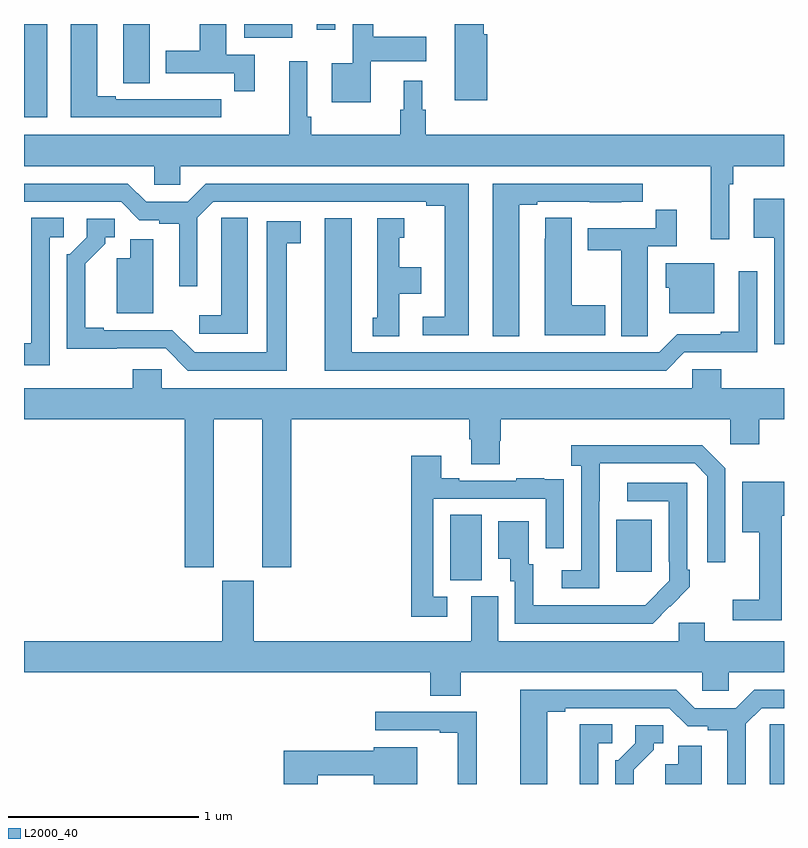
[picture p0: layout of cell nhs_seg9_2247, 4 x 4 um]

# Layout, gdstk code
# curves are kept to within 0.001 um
import gdstk
lib = gdstk.Library(unit=1e-6, precision=1e-09)
def R(c, l, rs):  # rectangles x0, y0, x1, y1
    for r in rs: c.add(gdstk.rectangle(r[:2], r[2:], *l))
def P(c, l, *ps):  # polygons
    for p in ps: c.add(gdstk.Polygon(p, *l))
L2000_40 = (2000, 40)

nhs_seg9_2247 = lib.new_cell('nhs_seg9_2247')
R(nhs_seg9_2247, L2000_40, [(241.244,1195.573,241.408,1195.916), (242.117,1195.617,242.305,1195.891), (239,1198.008,239.122,1198.5), (240.158,1198.427,240.412,1198.5), (240.542,1198.47,240.639,1198.5)])
P(nhs_seg9_2247, L2000_40, [(241.439,1198.446),(241.421,1198.446),(241.421,1198.5),(241.267,1198.5),(241.267,1198.446),(241.268,1198.446),(241.268,1198.098),(241.439,1198.098)],
  [(239.662,1198.5),(239.522,1198.5),(239.522,1198.297),(239.523,1198.297),(239.523,1198.189),(239.662,1198.189)],
  [(240.037,1198.104),(239.924,1198.104),(239.924,1198.105),(239.758,1198.105),(239.758,1198.104),(239.482,1198.104),(239.482,1198.119),(239.386,1198.119),(239.386,1198.5),(239.246,1198.5),(239.246,1198.008),(240.037,1198.008)],
  [(240.215,1198.338),(240.064,1198.338),(240.064,1198.5),(239.924,1198.5),(239.924,1198.359),(239.747,1198.359),(239.747,1198.242),(240.106,1198.242),(240.106,1198.146),(240.215,1198.146)],
  [(240.826,1198.304),(241.117,1198.304),(241.117,1198.434),(240.838,1198.434),(240.838,1198.5),(240.729,1198.5),(240.729,1198.294),(240.62,1198.294),(240.62,1198.088),(240.826,1198.088)],
  [(240.998,1198.201),(240.998,1198.05),(240.979,1198.05),(240.979,1197.916),(240.512,1197.916),(240.512,1198.012),(240.492,1198.012),(240.492,1198.303),(240.395,1198.303),(240.395,1197.916),(239,1197.916),(239,1197.752),(239.685,1197.752),(239.685,1197.654),(239.823,1197.654),(239.823,1197.752),(242.615,1197.752),(242.615,1197.366),(242.712,1197.366),(242.712,1197.656),(242.732,1197.656),(242.732,1197.752),(243,1197.752),(243,1197.916),(241.115,1197.916),(241.115,1198.05),(241.096,1198.05),(241.096,1198.201)],
  [(241.342,1197.66),(239.957,1197.66),(239.861,1197.564),(239.643,1197.564),(239.547,1197.66),(239,1197.66),(239,1197.564),(239.511,1197.564),(239.607,1197.468),(239.712,1197.468),(239.712,1197.448),(239.816,1197.448),(239.816,1197.12),(239.913,1197.12),(239.913,1197.48),(239.997,1197.564),(241.118,1197.564),(241.118,1197.544),(241.214,1197.544),(241.214,1196.958),(241.098,1196.958),(241.098,1196.862),(241.342,1196.862)],
  [(241.606,1197.549),(241.702,1197.549),(241.702,1197.564),(241.978,1197.564),(241.978,1197.563),(242.144,1197.563),(242.144,1197.564),(242.257,1197.564),(242.257,1197.66),(241.466,1197.66),(241.466,1196.857),(241.606,1196.857)],
  [(243,1197.58),(242.84,1197.58),(242.84,1197.374),(242.949,1197.374),(242.949,1196.814),(243,1196.814)],
  [(242.283,1196.968),(242.284,1196.968),(242.284,1197.33),(242.435,1197.33),(242.435,1197.523),(242.326,1197.523),(242.326,1197.426),(241.967,1197.426),(241.967,1197.31),(242.144,1197.31),(242.144,1196.857),(242.283,1196.857)],
  [(240.178,1197.479),(240.039,1197.479),(240.039,1197.371),(240.038,1197.371),(240.038,1196.968),(239.922,1196.968),(239.922,1196.871),(240.178,1196.871)],
  [(242.059,1197.021),(241.882,1197.021),(241.882,1197.479),(241.743,1197.479),(241.743,1197.371),(241.742,1197.371),(241.742,1196.861),(242.059,1196.861)],
  [(239.136,1197.378),(239.209,1197.378),(239.209,1197.479),(239.039,1197.479),(239.039,1196.819),(239,1196.819),(239,1196.703),(239.136,1196.703)],
  [(242.475,1196.772),(242.859,1196.772),(242.859,1197.199),(242.762,1197.199),(242.762,1196.881),(242.666,1196.881),(242.666,1196.868),(242.439,1196.868),(242.343,1196.772),(240.724,1196.772),(240.724,1197.478),(240.584,1197.478),(240.584,1196.676),(242.379,1196.676)],
  [(240.976,1197.08),(241.09,1197.08),(241.09,1197.22),(240.976,1197.22),(240.976,1197.375),(241,1197.375),(241,1197.478),(240.86,1197.478),(240.86,1196.955),(240.836,1196.955),(240.836,1196.857),(240.976,1196.857)],
  [(240.382,1197.346),(240.457,1197.346),(240.457,1197.462),(240.278,1197.462),(240.278,1196.772),(239.898,1196.772),(239.781,1196.889),(239.419,1196.889),(239.419,1196.902),(239.323,1196.902),(239.323,1197.238),(239.428,1197.343),(239.428,1197.378),(239.478,1197.378),(239.478,1197.474),(239.331,1197.474),(239.331,1197.378),(239.241,1197.288),(239.226,1197.288),(239.226,1196.792),(239.745,1196.793),(239.862,1196.676),(240.382,1196.676)],
  [(239.68,1197.366),(239.558,1197.366),(239.558,1197.268),(239.489,1197.268),(239.489,1196.978),(239.68,1196.978)],
  [(242.632,1197.241),(242.378,1197.241),(242.378,1197.111),(242.396,1197.111),(242.396,1196.978),(242.632,1196.978)],
  [(239.998,1196.42),(240.254,1196.42),(240.254,1195.641),(240.407,1195.641),(240.407,1196.42),(241.343,1196.42),(241.343,1196.314),(241.355,1196.314),(241.355,1196.182),(241.503,1196.182),(241.503,1196.307),(241.508,1196.307),(241.508,1196.42),(242.718,1196.42),(242.718,1196.289),(242.87,1196.289),(242.87,1196.42),(243,1196.42),(243,1196.584),(242.669,1196.584),(242.669,1196.682),(242.517,1196.682),(242.517,1196.584),(239.724,1196.584),(239.724,1196.682),(239.573,1196.682),(239.573,1196.584),(239,1196.584),(239,1196.42),(239.846,1196.42),(239.846,1195.641),(239.998,1195.641)],
  [(242.028,1195.987),(242.029,1196.187),(242.529,1196.187),(242.595,1196.121),(242.595,1195.668),(242.691,1195.668),(242.691,1196.163),(242.57,1196.284),(241.881,1196.284),(241.881,1196.174),(241.932,1196.174),(241.932,1195.626),(241.83,1195.626),(241.83,1195.53),(242.028,1195.53)],
  [(241.228,1195.485),(241.155,1195.485),(241.155,1196.001),(241.746,1196.001),(241.746,1195.74),(241.842,1195.74),(241.842,1195.994),(241.841,1195.994),(241.841,1196.103),(241.739,1196.103),(241.739,1196.11),(241.591,1196.11),(241.591,1196.097),(241.291,1196.097),(241.291,1196.11),(241.195,1196.11),(241.195,1196.227),(241.039,1196.227),(241.039,1195.38),(241.228,1195.38)],
  [(242.987,1195.913),(243,1195.913),(243,1196.091),(242.78,1196.091),(242.78,1195.826),(242.87,1195.826),(242.87,1195.471),(242.73,1195.471),(242.73,1195.362),(242.987,1195.362)],
  [(242.399,1195.435),(242.4,1195.434),(242.505,1195.539),(242.505,1195.627),(242.49,1195.627),(242.49,1196.085),(242.175,1196.085),(242.175,1195.989),(242.394,1195.989),(242.394,1195.669),(242.397,1195.669),(242.397,1195.569),(242.269,1195.441),(241.681,1195.44),(241.681,1195.656),(241.657,1195.656),(241.657,1195.882),(241.496,1195.882),(241.496,1195.685),(241.559,1195.685),(241.559,1195.566),(241.584,1195.566),(241.584,1195.344),(242.308,1195.344)],
  [(241.299,1195.088),(242.571,1195.088),(242.571,1194.99),(242.709,1194.99),(242.709,1195.088),(243,1195.088),(243,1195.252),(242.584,1195.252),(242.584,1195.35),(242.445,1195.35),(242.445,1195.252),(241.495,1195.252),(241.495,1195.488),(241.355,1195.488),(241.355,1195.252),(240.208,1195.252),(240.208,1195.569),(240.044,1195.569),(240.044,1195.252),(239,1195.252),(239,1195.088),(241.139,1195.088),(241.139,1194.964),(241.299,1194.964)],
  [(241.753,1194.88),(241.849,1194.88),(241.849,1194.9),(242.397,1194.9),(242.493,1194.804),(242.598,1194.804),(242.598,1194.784),(242.702,1194.784),(242.702,1194.5),(242.799,1194.5),(242.799,1194.816),(242.883,1194.9),(243,1194.9),(243,1194.996),(242.843,1194.996),(242.747,1194.9),(242.529,1194.9),(242.433,1194.996),(241.613,1194.996),(241.613,1194.5),(241.753,1194.5)],
  [(241.383,1194.879),(240.849,1194.879),(240.849,1194.783),(241.187,1194.783),(241.187,1194.771),(241.283,1194.771),(241.283,1194.5),(241.383,1194.5)],
  [(243,1194.815),(242.925,1194.815),(242.925,1194.707),(242.924,1194.707),(242.924,1194.5),(243,1194.5)],
  [(242.022,1194.714),(242.095,1194.714),(242.095,1194.815),(241.925,1194.815),(241.925,1194.5),(242.022,1194.5)],
  [(242.209,1194.574),(242.314,1194.679),(242.314,1194.714),(242.364,1194.714),(242.364,1194.81),(242.217,1194.81),(242.217,1194.714),(242.127,1194.624),(242.112,1194.624),(242.112,1194.5),(242.209,1194.5)],
  [(242.566,1194.702),(242.444,1194.702),(242.444,1194.604),(242.375,1194.604),(242.375,1194.5),(242.566,1194.5)],
  [(240.546,1194.547),(240.842,1194.547),(240.842,1194.5),(241.069,1194.5),(241.069,1194.694),(240.842,1194.694),(240.842,1194.676),(240.368,1194.676),(240.368,1194.5),(240.546,1194.5)])

lib.write_gds('nhs_seg9_2247.gds')
